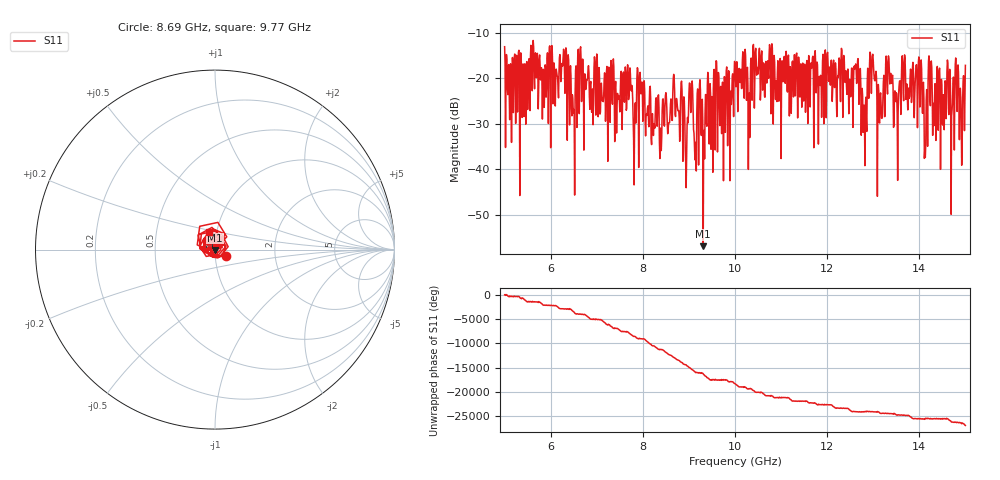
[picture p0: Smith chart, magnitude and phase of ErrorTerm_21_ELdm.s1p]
!  1-Port S-parameters saved by WinCal
! VAR NAME=2-Port SOLT labuser 7
! VAR Error Term Name=ELdm phys rcv port 2 phys src port 1
# Hz S RI R 50
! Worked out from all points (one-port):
!   1001 points, 5 GHz to 15 GHz, reference 50 ohm
!   lowest |S11| = -56.9 dB at 9.31 GHz (marker M1), VSWR 1.00, Z = 50 - j0.141 ohm
!   |S11| at or under -10 dB: start of sweep to end of sweep
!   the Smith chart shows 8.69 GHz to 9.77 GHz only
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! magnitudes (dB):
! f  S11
! 5 GHz  -13.1
! 5.38 GHz  -28.6
! 6.25 GHz  -16.9
! 6.49 GHz  -27.7
! 6.64 GHz  -13.6
! 7.5 GHz  -27.4
! 8.75 GHz  -26.2
! 8.92 GHz  -35.5
! 9.04 GHz  -27.6
! 9.12 GHz  -34.7
! 9.31 GHz  -56.9
! 9.41 GHz  -18.7
! 10 GHz  -16.6
! 11.25 GHz  -16.2
! 12.5 GHz  -21.1
! 12.63 GHz  -18.2
! 12.81 GHz  -29.3
! 12.97 GHz  -18.3
! 13.14 GHz  -29.9
! 13.32 GHz  -17.2
! 13.49 GHz  -25.2
! 13.66 GHz  -25.0
! 13.75 GHz  -27.0
! 14.03 GHz  -17.3
! 14.13 GHz  -37.4
! 14.24 GHz  -26.1
! 14.91 GHz  -29.5
! 15 GHz  -17.2
